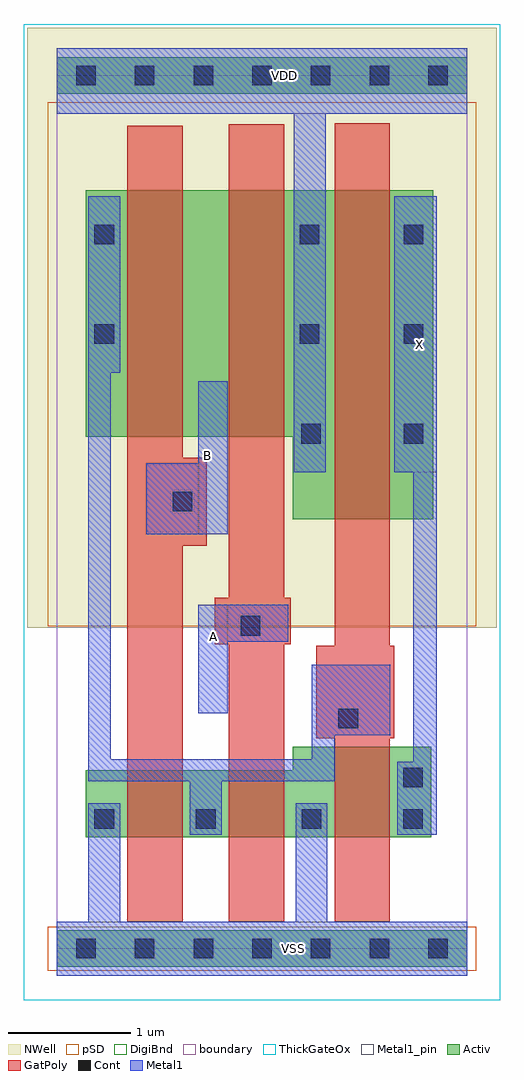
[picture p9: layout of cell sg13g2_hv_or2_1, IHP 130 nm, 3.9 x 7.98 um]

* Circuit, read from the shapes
.subckt sg13g2_hv_or2_1 A B VDD VSS X
XM1 n1 B VSS VSS sg13_hv_nmos w=0.55u l=0.45u
XM2 VSS A n1 VSS sg13_hv_nmos w=0.55u l=0.45u
XM3 X n1 VSS VSS sg13_hv_nmos w=0.74u l=0.45u
XM4 n2 B n1 VDD sg13_hv_pmos w=2.015u l=0.45u
XM5 VDD A n2 VDD sg13_hv_pmos w=2.015u l=0.45u
XM6 X n1 VDD VDD sg13_hv_pmos w=2.69u l=0.45u
.ends

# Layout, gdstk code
import gdstk
lib = gdstk.Library(unit=1e-6, precision=1e-09)
def R(c, l, rs):  # rectangles x0, y0, x1, y1
    for r in rs: c.add(gdstk.rectangle(r[:2], r[2:], *l))
def A(c, l, x, y, w, h, nx, ny, dx, dy):  # array of equal rectangles
    R(c, l, [(x+i*dx, y+j*dy, x+i*dx+w, y+j*dy+h) for i in range(nx) for j in range(ny)])
def P(c, l, *ps):  # polygons
    for p in ps: c.add(gdstk.Polygon(p, *l))
Activ = (1, 0)
GatPoly = (5, 0)
Cont = (6, 0)
Metal1 = (8, 0)
Metal1_pin = (8, 2)
pSD = (14, 0)
DigiBnd = (16, 0)
NWell = (31, 0)
ThickGateOx = (44, 0)
boundary = (189, 4)

sg13g2_hv_or2_1 = lib.new_cell('sg13g2_hv_or2_1')
R(sg13g2_hv_or2_1, Activ, [(0,-0.15,3.36,0.15), (0,6.99,3.36,7.29)])
P(sg13g2_hv_or2_1, Activ, [(0.24,0.91),(0.24,1.46),(1.93,1.46),(1.93,1.65),(3.065,1.65),(3.065,0.91)],
  [(1.93,3.51),(1.93,4.185),(0.24,4.185),(0.24,6.2),(3.08,6.2),(3.08,3.51)])
R(sg13g2_hv_or2_1, GatPoly, [(0.58,0.22,1.03,4.27), (0.685,3.295,1.23,4.015), (0.58,3.945,1.03,6.73), (1.41,3.945,1.86,6.74)])
P(sg13g2_hv_or2_1, GatPoly, [(1.41,0.22),(1.41,2.49),(1.295,2.49),(1.295,2.87),(1.41,2.87),(1.41,4.03),(1.86,4.03),(1.86,2.87),(1.915,2.87),(1.915,2.49),(1.86,2.49),(1.86,0.22)],
  [(2.275,0.22),(2.275,1.72),(2.125,1.72),(2.125,2.475),(2.275,2.475),(2.275,6.75),(2.725,6.75),(2.725,2.475),(2.76,2.475),(2.76,1.72),(2.725,1.72),(2.725,0.22)])
A(sg13g2_hv_or2_1, Cont, 0.16, -0.08, 0.16, 0.16, 7, 2, 0.48, 7.14)
A(sg13g2_hv_or2_1, Cont, 2.84, 4.13, 0.16, 0.16, 1, 3, 0, 0.815)
R(sg13g2_hv_or2_1, Cont, [(0.31,0.98,0.47,1.14), (1.14,0.98,1.3,1.14), (2.005,0.98,2.165,1.14), (2.835,0.98,2.995,1.14), (2.835,1.32,2.995,1.48), (2.305,1.8,2.465,1.96), (1.505,2.56,1.665,2.72), (0.95,3.575,1.11,3.735), (2,4.13,2.16,4.29), (0.31,4.945,0.47,5.105), (1.99,4.945,2.15,5.105), (0.31,5.76,0.47,5.92), (1.99,5.76,2.15,5.92)])
P(sg13g2_hv_or2_1, Metal1, [(1.16,1.925),(1.16,2.81),(1.895,2.81),(1.895,2.51),(1.4,2.51),(1.4,1.925)],
  [(2.785,0.93),(2.785,1.53),(2.915,1.53),(2.915,3.895),(2.76,3.895),(2.76,6.15),(3.11,6.15),(3.11,0.93)],
  [(1.09,0.93),(1.09,1.37),(0.26,1.37),(0.26,6.15),(0.52,6.15),(0.52,4.71),(0.445,4.71),(0.445,1.55),(2.085,1.55),(2.085,2.32),(2.73,2.32),(2.73,1.745),(2.275,1.745),(2.275,1.37),(1.35,1.37),(1.35,0.93)],
  [(0.735,3.39),(0.735,3.97),(1.16,3.97),(1.16,4.64),(1.4,4.64),(1.4,3.39)],
  [(0,-0.22),(0,0.22),(0.26,0.22),(0.26,1.19),(0.52,1.19),(0.52,0.22),(1.955,0.22),(1.955,1.19),(2.215,1.19),(2.215,0.22),(3.36,0.22),(3.36,-0.22)],
  [(1.94,3.895),(1.94,6.825),(0,6.825),(0,7.36),(3.36,7.36),(3.36,6.825),(2.2,6.825),(2.2,3.895)])
R(sg13g2_hv_or2_1, Metal1_pin, [(0,-0.22,3.36,0.22), (1.16,1.925,1.4,2.81), (1.16,3.39,1.4,4.64), (2.76,3.895,3.11,6.15), (0,6.825,3.36,7.36)])
R(sg13g2_hv_or2_1, pSD, [(-0.07,-0.18,3.43,0.18), (-0.07,2.635,3.43,6.92)])
R(sg13g2_hv_or2_1, DigiBnd, [(0,0,3.36,7.14)])
R(sg13g2_hv_or2_1, NWell, [(-0.24,2.625,3.6,7.53)])
R(sg13g2_hv_or2_1, ThickGateOx, [(-0.27,-0.42,3.63,7.56)])
R(sg13g2_hv_or2_1, boundary, [(0,0,3.36,7.14)])
sg13g2_hv_or2_1.add(gdstk.Label('A', (1.28,2.555), layer=8, texttype=25))
sg13g2_hv_or2_1.add(gdstk.Label('VSS', (1.94,0), layer=8, texttype=25))
sg13g2_hv_or2_1.add(gdstk.Label('B', (1.235,4.03), layer=8, texttype=25))
sg13g2_hv_or2_1.add(gdstk.Label('X', (2.97,4.94), layer=8, texttype=25))
sg13g2_hv_or2_1.add(gdstk.Label('VDD', (1.86,7.14), layer=8, texttype=25))

lib.write_gds('sg13g2_hv_or2_1.gds')
